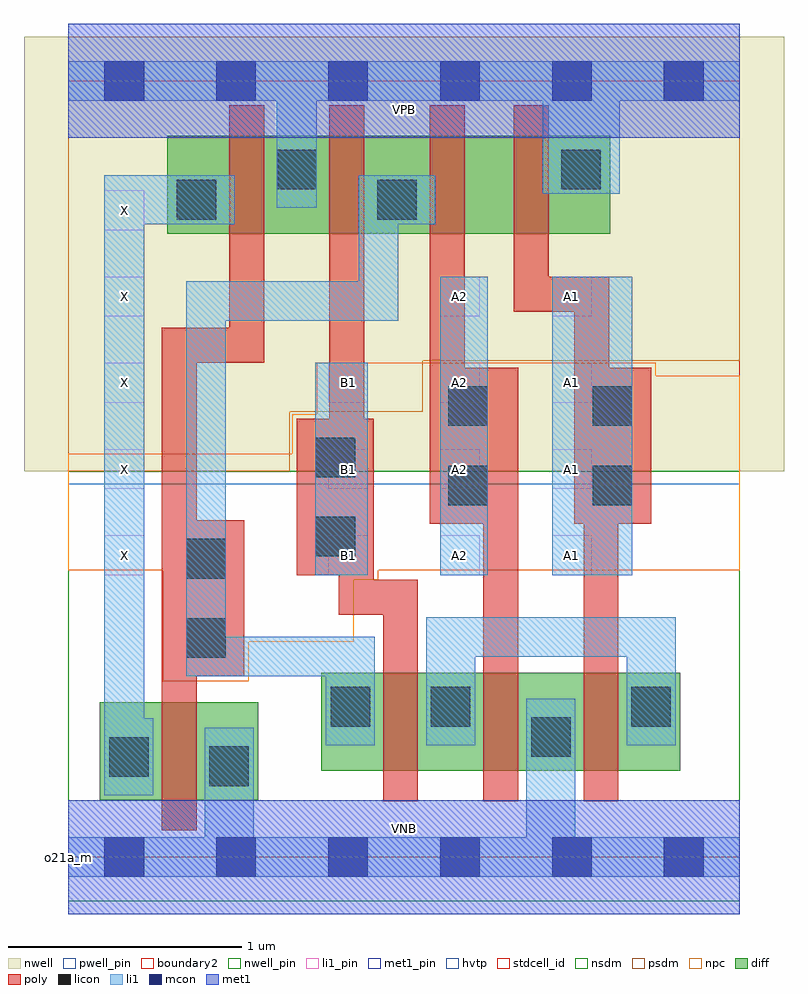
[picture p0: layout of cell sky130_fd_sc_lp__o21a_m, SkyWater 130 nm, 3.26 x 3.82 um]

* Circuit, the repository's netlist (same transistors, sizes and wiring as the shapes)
* Copyright 2020 The SkyWater PDK Authors
*
* Licensed under the Apache License, Version 2.0 (the "License");
* you may not use this file except in compliance with the License.
* You may obtain a copy of the License at
*
*     https://www.apache.org/licenses/LICENSE-2.0
*
* Unless required by applicable law or agreed to in writing, software
* distributed under the License is distributed on an "AS IS" BASIS,
* WITHOUT WARRANTIES OR CONDITIONS OF ANY KIND, either express or implied.
* See the License for the specific language governing permissions and
* limitations under the License.
*
* SPDX-License-Identifier: Apache-2.0

.SUBCKT sky130_fd_sc_lp__o21a_m A1 A2 B1 VGND VNB VPB VPWR X
*.PININFO A1:I A2:I B1:I VGND:I VNB:I VPB:I VPWR:I X:O
MMPA0 VPWR A1 sndA1 VPB sky130_fd_pr__pfet_01v8_hvt m=1 w=0.42U l=0.15U mult=1
+ sa=0.265 sb=0.265 sd=0.28 area=0.063 perim=1.14
MMPA1 sndA1 A2 y VPB sky130_fd_pr__pfet_01v8_hvt m=1 w=0.42U l=0.15U mult=1 sa=0.265
+ sb=0.265 sd=0.28 area=0.063 perim=1.14
MMPB0 VPWR B1 y VPB sky130_fd_pr__pfet_01v8_hvt m=1 w=0.42U l=0.15U mult=1 sa=0.265
+ sb=0.265 sd=0.28 area=0.063 perim=1.14
MMIPX X y VPWR VPB sky130_fd_pr__pfet_01v8_hvt m=1 w=0.42U l=0.15U mult=1 sa=0.265
+ sb=0.265 sd=0.28 area=0.063 perim=1.14
MMNA0 pndA A1 VGND VNB sky130_fd_pr__nfet_01v8 m=1 w=0.42U l=0.15U mult=1 sa=0.265
+ sb=0.265 sd=0.28 area=0.063 perim=1.14
MMNA1 pndA A2 VGND VNB sky130_fd_pr__nfet_01v8 m=1 w=0.42U l=0.15U mult=1 sa=0.265
+ sb=0.265 sd=0.28 area=0.063 perim=1.14
MMNB0 y B1 pndA VNB sky130_fd_pr__nfet_01v8 m=1 w=0.42U l=0.15U mult=1 sa=0.265
+ sb=0.265 sd=0.28 area=0.063 perim=1.14
MMINX X y VGND VNB sky130_fd_pr__nfet_01v8 m=1 w=0.42U l=0.15U mult=1 sa=0.265
+ sb=0.265 sd=0.28 area=0.063 perim=1.14
.ENDS sky130_fd_sc_lp__o21a_m

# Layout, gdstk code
import gdstk
lib = gdstk.Library(unit=1e-6, precision=1e-09)
def R(c, l, rs):  # rectangles x0, y0, x1, y1
    for r in rs: c.add(gdstk.rectangle(r[:2], r[2:], *l))
def A(c, l, x, y, w, h, nx, ny, dx, dy):  # array of equal rectangles
    R(c, l, [(x+i*dx, y+j*dy, x+i*dx+w, y+j*dy+h) for i in range(nx) for j in range(ny)])
def P(c, l, *ps):  # polygons
    for p in ps: c.add(gdstk.Polygon(p, *l))
nwell_pin = (64, 16)
nwell = (64, 20)
diff = (65, 20)
poly = (66, 20)
licon = (66, 44)
li1_pin = (67, 16)
li1 = (67, 20)
mcon = (67, 44)
met1_pin = (68, 16)
met1 = (68, 20)
hvtp = (78, 44)
stdcell_id = (81, 4)
nsdm = (93, 44)
psdm = (94, 20)
npc = (95, 20)
pwell_pin = (122, 16)
boundary2 = (236, 0)

sky130_fd_sc_lp__o21a_m = lib.new_cell('sky130_fd_sc_lp__o21a_m')
R(sky130_fd_sc_lp__o21a_m, nwell_pin, [(0,3.085,2.88,3.33)])
R(sky130_fd_sc_lp__o21a_m, nwell, [(-0.19,1.655,3.07,3.52)])
R(sky130_fd_sc_lp__o21a_m, diff, [(0.135,0.245,0.815,0.665), (1.085,0.37,2.625,0.79), (0.425,2.675,2.325,3.095)])
P(sky130_fd_sc_lp__o21a_m, poly, [(0.84,3.225),(0.69,3.225),(0.69,2.27),(0.4,2.27),(0.4,0.115),(0.55,0.115),(0.55,0.775),(0.755,0.775),(0.755,1.445),(0.55,1.445),(0.55,2.12),(0.84,2.12)],
  [(1.5,1.19),(1.31,1.19),(1.31,1.88),(1.27,1.88),(1.27,3.225),(1.12,3.225),(1.12,1.88),(0.98,1.88),(0.98,1.21),(1.16,1.21),(1.16,1.04),(1.35,1.04),(1.35,0.24),(1.5,0.24)],
  [(1.93,2.1),(1.7,2.1),(1.7,3.225),(1.55,3.225),(1.55,1.43),(1.78,1.43),(1.78,0.24),(1.93,0.24)],
  [(2.5,2.1),(2.32,2.1),(2.32,2.49),(2.06,2.49),(2.06,3.225),(1.91,3.225),(1.91,2.34),(2.17,2.34),(2.17,1.43),(2.21,1.43),(2.21,0.24),(2.36,0.24),(2.36,1.43),(2.5,1.43)])
R(sky130_fd_sc_lp__o21a_m, licon, [(0.605,0.305,0.775,0.475), (0.175,0.345,0.345,0.515), (1.985,0.43,2.155,0.6), (1.125,0.56,1.295,0.73), (1.555,0.56,1.725,0.73), (2.415,0.56,2.585,0.73), (0.505,0.855,0.675,1.025), (0.505,1.195,0.675,1.365), (1.06,1.29,1.23,1.46), (1.63,1.51,1.8,1.68), (2.25,1.51,2.42,1.68), (1.06,1.63,1.23,1.8), (1.63,1.85,1.8,2.02), (2.25,1.85,2.42,2.02), (0.465,2.735,0.635,2.905), (1.325,2.735,1.495,2.905), (0.895,2.865,1.065,3.035), (2.115,2.865,2.285,3.035)])
A(sky130_fd_sc_lp__o21a_m, li1_pin, 0.155, 1.21, 0.17, 0.17, 1, 5, 0, 0.37)
A(sky130_fd_sc_lp__o21a_m, li1_pin, 1.115, 1.21, 0.17, 0.17, 3, 3, 0.48, 0.37)
R(sky130_fd_sc_lp__o21a_m, li1_pin, [(1.595,2.32,1.765,2.49), (2.075,2.32,2.245,2.49)])
R(sky130_fd_sc_lp__o21a_m, li1, [(1.06,1.21,1.285,2.12), (1.595,1.21,1.8,2.49), (2.075,1.21,2.42,2.49)])
P(sky130_fd_sc_lp__o21a_m, li1, [(2.035,2.845),(2.035,3.245),(1.065,3.245),(1.065,2.785),(0.895,2.785),(0.895,3.245),(0,3.245),(0,3.415),(2.88,3.415),(2.88,3.245),(2.365,3.245),(2.365,2.845)],
  [(1.965,0.085),(1.965,0.68),(2.175,0.68),(2.175,0.085),(2.88,0.085),(2.88,-0.085),(0,-0.085),(0,0.085),(0.585,0.085),(0.585,0.555),(0.795,0.555),(0.795,0.085)],
  [(2.395,0.48),(2.395,0.86),(1.745,0.86),(1.745,0.48),(1.535,0.48),(1.535,1.03),(2.605,1.03),(2.605,0.48)],
  [(0.505,2.47),(1.245,2.47),(1.245,2.925),(1.575,2.925),(1.575,2.715),(1.415,2.715),(1.415,2.3),(0.675,2.3),(0.675,0.945),(1.315,0.945),(1.315,0.48),(1.105,0.48),(1.105,0.775),(0.505,0.775)],
  [(0.325,2.715),(0.325,0.595),(0.365,0.595),(0.365,0.265),(0.155,0.265),(0.155,2.925),(0.715,2.925),(0.715,2.715)])
A(sky130_fd_sc_lp__o21a_m, mcon, 0.155, -0.085, 0.17, 0.17, 6, 2, 0.48, 3.33)
R(sky130_fd_sc_lp__o21a_m, met1_pin, [(0,0,2.88,0.245), (0,3.085,2.88,3.33)])
R(sky130_fd_sc_lp__o21a_m, met1, [(0,-0.245,2.88,0.245), (0,3.085,2.88,3.575)])
R(sky130_fd_sc_lp__o21a_m, hvtp, [(0,1.6,2.88,3.33)])
R(sky130_fd_sc_lp__o21a_m, stdcell_id, [(0,0,2.88,3.33)])
R(sky130_fd_sc_lp__o21a_m, nsdm, [(0,-0.19,2.88,1.655)])
P(sky130_fd_sc_lp__o21a_m, psdm, [(2.88,3.52),(0,3.52),(0,1.655),(0.95,1.655),(0.95,1.91),(1.52,1.91),(1.52,2.13),(2.88,2.13)])
P(sky130_fd_sc_lp__o21a_m, npc, [(2.88,2.065),(2.52,2.065),(2.52,2.12),(1.065,2.12),(1.065,1.9),(0.96,1.9),(0.96,1.73),(0,1.73),(0,1.23),(0.405,1.23),(0.405,0.755),(0.775,0.755),(0.775,0.925),(1.225,0.925),(1.225,1.19),(1.33,1.19),(1.33,1.23),(2.88,1.23)])
R(sky130_fd_sc_lp__o21a_m, pwell_pin, [(0,0,2.88,0.245)])
R(sky130_fd_sc_lp__o21a_m, boundary2, [(0,0,2.88,3.33)])
sky130_fd_sc_lp__o21a_m.add(gdstk.Label('VNB', (1.44,0.123), layer=64, texttype=59))
sky130_fd_sc_lp__o21a_m.add(gdstk.Label('VPB', (1.44,3.208), layer=64, texttype=5))
sky130_fd_sc_lp__o21a_m.add(gdstk.Label('o21a_m', (0,0), layer=83, texttype=44))
sky130_fd_sc_lp__o21a_m.add(gdstk.Label('VPWR', (1.44,3.208), layer=68, texttype=5))
sky130_fd_sc_lp__o21a_m.add(gdstk.Label('VGND', (1.44,0.123), layer=68, texttype=5))
sky130_fd_sc_lp__o21a_m.add(gdstk.Label('A1', (2.16,1.295), layer=67, texttype=5))
sky130_fd_sc_lp__o21a_m.add(gdstk.Label('A1', (2.16,1.665), layer=67, texttype=5))
sky130_fd_sc_lp__o21a_m.add(gdstk.Label('A1', (2.16,2.035), layer=67, texttype=5))
sky130_fd_sc_lp__o21a_m.add(gdstk.Label('A1', (2.16,2.405), layer=67, texttype=5))
sky130_fd_sc_lp__o21a_m.add(gdstk.Label('A2', (1.68,1.295), layer=67, texttype=5))
sky130_fd_sc_lp__o21a_m.add(gdstk.Label('A2', (1.68,1.665), layer=67, texttype=5))
sky130_fd_sc_lp__o21a_m.add(gdstk.Label('A2', (1.68,2.035), layer=67, texttype=5))
sky130_fd_sc_lp__o21a_m.add(gdstk.Label('A2', (1.68,2.405), layer=67, texttype=5))
sky130_fd_sc_lp__o21a_m.add(gdstk.Label('B1', (1.2,1.295), layer=67, texttype=5))
sky130_fd_sc_lp__o21a_m.add(gdstk.Label('B1', (1.2,1.665), layer=67, texttype=5))
sky130_fd_sc_lp__o21a_m.add(gdstk.Label('B1', (1.2,2.035), layer=67, texttype=5))
sky130_fd_sc_lp__o21a_m.add(gdstk.Label('X', (0.24,1.295), layer=67, texttype=5))
sky130_fd_sc_lp__o21a_m.add(gdstk.Label('X', (0.24,1.665), layer=67, texttype=5))
sky130_fd_sc_lp__o21a_m.add(gdstk.Label('X', (0.24,2.035), layer=67, texttype=5))
sky130_fd_sc_lp__o21a_m.add(gdstk.Label('X', (0.24,2.405), layer=67, texttype=5))
sky130_fd_sc_lp__o21a_m.add(gdstk.Label('X', (0.24,2.775), layer=67, texttype=5))

lib.write_gds('sky130_fd_sc_lp__o21a_m.gds')
